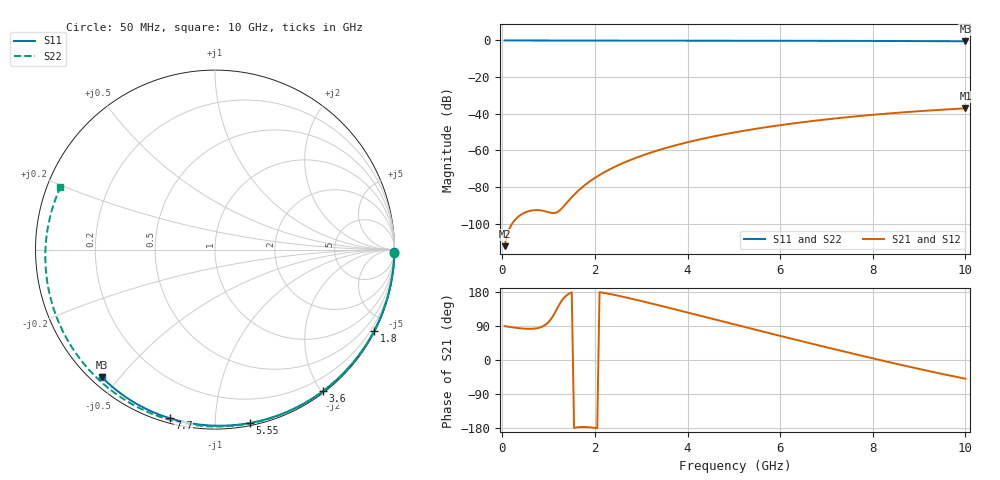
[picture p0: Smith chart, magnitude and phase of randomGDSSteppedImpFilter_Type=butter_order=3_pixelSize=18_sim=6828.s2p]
! freq	dB(S11)	phase(S11)	dB(S12)	phase(S12)
!  dB(S21)	phase(S21)	dB(S22)	phase(S22)
!S-par simulation data
#  GHz  S  DB  R 50
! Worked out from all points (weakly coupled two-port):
!   200 points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, 50 MHz to 10 GHz, reference 50 ohm
!   highest |S21| = -37.05 dB at 10 GHz (marker M1); lowest = -112.2 dB at 50 MHz (marker M2)
!   lowest |S11| = -0.4 dB at 10 GHz (marker M3), VSWR 39.01, Z = 1.54 - j22.5 ohm
!   |S11| at or under -10 dB: nowhere
!   |S22| runs from -0.6 to 0.0 dB; largest |S21 - S12| = 0
!   S11 on the Smith chart (normalised r, x): 50 MHz: open; 1.8 GHz: 0.04, -4.17; 3.6 GHz: 0.02, -2.02; 5.55 GHz: 0.02, -1.22; 7.7 GHz: 0.02, -0.77; 10 GHz: 0.03, -0.45
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0.05  -0.00 -0.8  -112.22 89.3  -112.22 89.3  -0.00 -1.1
0.45  -0.01 -6.8  -94.37 82.9  -94.37 82.9  -0.01 -10.2
0.85  -0.02 -12.8  -92.78 87.5  -92.78 87.5  -0.02 -19.2
1.25  -0.02 -18.8  -92.50 150.2  -92.50 150.2  -0.04 -28.1
1.7  -0.03 -25.5  -80.62 -176.8  -80.62 -176.8  -0.05 -38.0
1.75  -0.03 -26.2  -79.56 -176.7  -79.56 -176.7  -0.05 -39.0
1.8  -0.03 -26.9  -78.55 -176.9  -78.55 -176.9  -0.05 -40.1
2.1  -0.04 -31.3  -73.38 179.1  -73.38 179.1  -0.06 -46.6
2.5  -0.05 -37.1  -68.08 169.7  -68.08 169.7  -0.07 -55.1
2.9  -0.06 -42.9  -63.89 158.6  -63.89 158.6  -0.08 -63.4
3.4  -0.07 -49.9  -59.64 143.8  -59.64 143.8  -0.10 -73.6
3.6  -0.07 -52.7  -58.17 137.7  -58.17 137.7  -0.10 -77.7
4.3  -0.09 -62.3  -53.76 116.1  -53.76 116.1  -0.13 -91.4
5.05  -0.11 -72.2  -50.00 92.8  -50.00 92.8  -0.16 -105.8
5.55  -0.13 -78.7  -47.89 77.4  -47.89 77.4  -0.19 -115.1
6.1  -0.15 -85.7  -45.86 60.6  -45.86 60.6  -0.22 -125.3
6.7  -0.18 -93.1  -43.93 42.5  -43.93 42.5  -0.26 -136.4
7.7  -0.24 -105.1  -41.25 13.0  -41.25 13.0  -0.35 -154.9
8.35  -0.29 -112.7  -39.81 -5.6  -39.81 -5.6  -0.42 -167.4
9.2  -0.36 -122.4  -38.25 -29.0  -38.25 -29.0  -0.52 175.5
9.6  -0.40 -127.0  -37.62 -39.4  -37.62 -39.4  -0.58 167.0
10  -0.45 -131.5  -37.05 -49.3  -37.05 -49.3  -0.64 158.0
